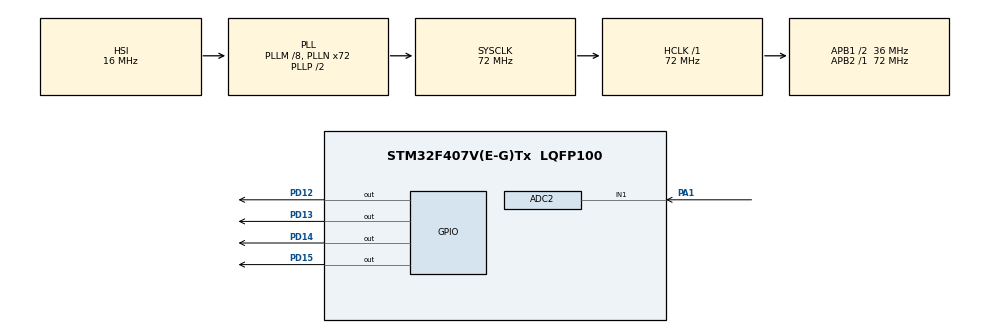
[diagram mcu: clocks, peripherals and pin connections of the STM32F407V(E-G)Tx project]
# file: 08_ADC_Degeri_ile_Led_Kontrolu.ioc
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ADC2.Channel-0\#ChannelRegularConversion=ADC_CHANNEL_1
ADC2.ContinuousConvMode=ENABLE
ADC2.NbrOfConversionFlag=1
ADC2.Rank-0\#ChannelRegularConversion=1
ADC2.Resolution=ADC_RESOLUTION_8B
ADC2.SamplingTime-0\#ChannelRegularConversion=ADC_SAMPLETIME_112CYCLES
ADC2.ScanConvMode=ENABLE
Mcu.Family=STM32F4
Mcu.Name=STM32F407V(E-G)Tx
Mcu.Package=LQFP100
NVIC.PriorityGroup=NVIC_PRIORITYGROUP_4
PA1.Signal=ADCx_IN1
PD12.Signal=GPIO_Output
PD13.Signal=GPIO_Output
PD14.Signal=GPIO_Output
PD15.Signal=GPIO_Output
ProjectManager.HeapSize=0x200
ProjectManager.StackSize=0x400
ProjectManager.TargetToolchain=STM32CubeIDE
RCC.48MHZClocksFreq_Value=36000000
RCC.AHBFreq_Value=72000000
RCC.APB1CLKDivider=RCC_HCLK_DIV2
RCC.APB1Freq_Value=36000000
RCC.APB1TimFreq_Value=72000000
RCC.APB2Freq_Value=72000000
RCC.APB2TimFreq_Value=72000000
RCC.CortexFreq_Value=72000000
RCC.HCLKFreq_Value=72000000
RCC.HSE_VALUE=25000000
RCC.HSI_VALUE=16000000
RCC.LSE_VALUE=32768
RCC.PLLM=8
RCC.PLLN=72
RCC.SYSCLKFreq_VALUE=72000000
RCC.SYSCLKSource=RCC_SYSCLKSOURCE_PLLCLK
RCC.VCOOutputFreq_Value=144000000
SH.ADCx_IN1.0=ADC2_IN1,IN1
board=custom

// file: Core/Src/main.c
/* USER CODE BEGIN Header */
/**
  ******************************************************************************
  * @file           : main.c
  * @brief          : Main program body
  ******************************************************************************
  * @attention
  *
  * Copyright (c) 2025 STMicroelectronics.
  * All rights reserved.
  *
  * This software is licensed under terms that can be found in the LICENSE file
  * in the root directory of this software component.
  * If no LICENSE file comes with this software, it is provided AS-IS.
  *
  ******************************************************************************
  */
/* USER CODE END Header */
#include "main.h"

ADC_HandleTypeDef hadc2;

/* USER CODE BEGIN PV */
uint8_t analogValue;
/* USER CODE END PV */

void SystemClock_Config(void);
static void MX_GPIO_Init(void);
static void MX_ADC2_Init(void);

/* USER CODE BEGIN 0 */
uint8_t READ_ADC_Value(void){
	uint8_t adcValue=0;
	HAL_ADC_Start(&hadc2);
	HAL_ADC_PollForConversion(&hadc2, 1000);
	adcValue = (uint8_t)HAL_ADC_GetValue(&hadc2);

	HAL_ADC_Stop(&hadc2);

	return adcValue;

}
/* USER CODE END 0 */

int main(void)
{

  /* MCU Configuration--------------------------------------------------------*/

  /* Reset of all peripherals, Initializes the Flash interface and the Systick. */
  HAL_Init();

  /* Configure the system clock */
  SystemClock_Config();

  /* Initialize all configured peripherals */
  MX_GPIO_Init();
  MX_ADC2_Init();
  /* USER CODE BEGIN 2 */
analogValue=READ_ADC_Value();
  /* USER CODE END 2 */

  /* Infinite loop */
  while (1)
  {

    /* USER CODE BEGIN 3 */
	  if (analogValue >=0 && analogValue<51) {
		  HAL_GPIO_WritePin(GPIOD, GPIO_PIN_12 | GPIO_PIN_13 | GPIO_PIN_14 | GPIO_PIN_15,GPIO_PIN_RESET);
	}
	  else if (analogValue >=51 && analogValue < 102) {
		  HAL_GPIO_WritePin(GPIOD, GPIO_PIN_12 ,GPIO_PIN_SET);
		  HAL_GPIO_WritePin(GPIOD, GPIO_PIN_13 | GPIO_PIN_14 | GPIO_PIN_15,GPIO_PIN_RESET);
	}
	  else if (analogValue>=102 && analogValue<153) {
		  HAL_GPIO_WritePin(GPIOD, GPIO_PIN_12 | GPIO_PIN_13 ,GPIO_PIN_SET);
		  HAL_GPIO_WritePin(GPIOD, GPIO_PIN_14 | GPIO_PIN_15,GPIO_PIN_RESET);
	}
	  else if (analogValue>=153 && analogValue<204) {
		  HAL_GPIO_WritePin(GPIOD, GPIO_PIN_12 | GPIO_PIN_13 | GPIO_PIN_14 ,GPIO_PIN_SET);
		  HAL_GPIO_WritePin(GPIOD, GPIO_PIN_15,GPIO_PIN_RESET);
	  }
	  else {
		  HAL_GPIO_WritePin(GPIOD, GPIO_PIN_12 | GPIO_PIN_13 | GPIO_PIN_14 | GPIO_PIN_15,GPIO_PIN_SET);
	}
  }
  /* USER CODE END 3 */
}

void SystemClock_Config(void)
{
  RCC_OscInitTypeDef RCC_OscInitStruct = {0};
  RCC_ClkInitTypeDef RCC_ClkInitStruct = {0};

  /** Configure the main internal regulator output voltage
  */
  __HAL_RCC_PWR_CLK_ENABLE();
  __HAL_PWR_VOLTAGESCALING_CONFIG(PWR_REGULATOR_VOLTAGE_SCALE1);

  /** Initializes the RCC Oscillators according to the specified parameters
  * in the RCC_OscInitTypeDef structure.
  */
  RCC_OscInitStruct.OscillatorType = RCC_OSCILLATORTYPE_HSI;
  RCC_OscInitStruct.HSIState = RCC_HSI_ON;
  RCC_OscInitStruct.HSICalibrationValue = RCC_HSICALIBRATION_DEFAULT;
  RCC_OscInitStruct.PLL.PLLState = RCC_PLL_ON;
  RCC_OscInitStruct.PLL.PLLSource = RCC_PLLSOURCE_HSI;
  RCC_OscInitStruct.PLL.PLLM = 8;
  RCC_OscInitStruct.PLL.PLLN = 72;
  RCC_OscInitStruct.PLL.PLLP = RCC_PLLP_DIV2;
  RCC_OscInitStruct.PLL.PLLQ = 4;
  if (HAL_RCC_OscConfig(&RCC_OscInitStruct) != HAL_OK)
  {
    Error_Handler();
  }

  /** Initializes the CPU, AHB and APB buses clocks
  */
  RCC_ClkInitStruct.ClockType = RCC_CLOCKTYPE_HCLK|RCC_CLOCKTYPE_SYSCLK
                              |RCC_CLOCKTYPE_PCLK1|RCC_CLOCKTYPE_PCLK2;
  RCC_ClkInitStruct.SYSCLKSource = RCC_SYSCLKSOURCE_PLLCLK;
  RCC_ClkInitStruct.AHBCLKDivider = RCC_SYSCLK_DIV1;
  RCC_ClkInitStruct.APB1CLKDivider = RCC_HCLK_DIV2;
  RCC_ClkInitStruct.APB2CLKDivider = RCC_HCLK_DIV1;

  if (HAL_RCC_ClockConfig(&RCC_ClkInitStruct, FLASH_LATENCY_2) != HAL_OK)
  {
    Error_Handler();
  }
}

static void MX_ADC2_Init(void)
{

  ADC_ChannelConfTypeDef sConfig = {0};

  /** Configure the global features of the ADC (Clock, Resolution, Data Alignment and number of conversion)
  */
  hadc2.Instance = ADC2;
  hadc2.Init.ClockPrescaler = ADC_CLOCK_SYNC_PCLK_DIV2;
  hadc2.Init.Resolution = ADC_RESOLUTION_8B;
  hadc2.Init.ScanConvMode = ENABLE;
  hadc2.Init.ContinuousConvMode = ENABLE;
  hadc2.Init.DiscontinuousConvMode = DISABLE;
  hadc2.Init.ExternalTrigConvEdge = ADC_EXTERNALTRIGCONVEDGE_NONE;
  hadc2.Init.ExternalTrigConv = ADC_SOFTWARE_START;
  hadc2.Init.DataAlign = ADC_DATAALIGN_RIGHT;
  hadc2.Init.NbrOfConversion = 1;
  hadc2.Init.DMAContinuousRequests = DISABLE;
  hadc2.Init.EOCSelection = ADC_EOC_SINGLE_CONV;
  if (HAL_ADC_Init(&hadc2) != HAL_OK)
  {
    Error_Handler();
  }

  /** Configure for the selected ADC regular channel its corresponding rank in the sequencer and its sample time.
  */
  sConfig.Channel = ADC_CHANNEL_1;
  sConfig.Rank = 1;
  sConfig.SamplingTime = ADC_SAMPLETIME_112CYCLES;
  if (HAL_ADC_ConfigChannel(&hadc2, &sConfig) != HAL_OK)
  {
    Error_Handler();
  }

}

static void MX_GPIO_Init(void)
{
  GPIO_InitTypeDef GPIO_InitStruct = {0};

  /* GPIO Ports Clock Enable */
  __HAL_RCC_GPIOA_CLK_ENABLE();
  __HAL_RCC_GPIOD_CLK_ENABLE();

  /*Configure GPIO pin Output Level */
  HAL_GPIO_WritePin(GPIOD, GPIO_PIN_12|GPIO_PIN_13|GPIO_PIN_14|GPIO_PIN_15, GPIO_PIN_RESET);

  /*Configure GPIO pins : PD12 PD13 PD14 PD15 */
  GPIO_InitStruct.Pin = GPIO_PIN_12|GPIO_PIN_13|GPIO_PIN_14|GPIO_PIN_15;
  GPIO_InitStruct.Mode = GPIO_MODE_OUTPUT_PP;
  GPIO_InitStruct.Pull = GPIO_NOPULL;
  GPIO_InitStruct.Speed = GPIO_SPEED_FREQ_LOW;
  HAL_GPIO_Init(GPIOD, &GPIO_InitStruct);

}

void Error_Handler(void)
{
  __disable_irq();
  while (1)
  {
  }
}
